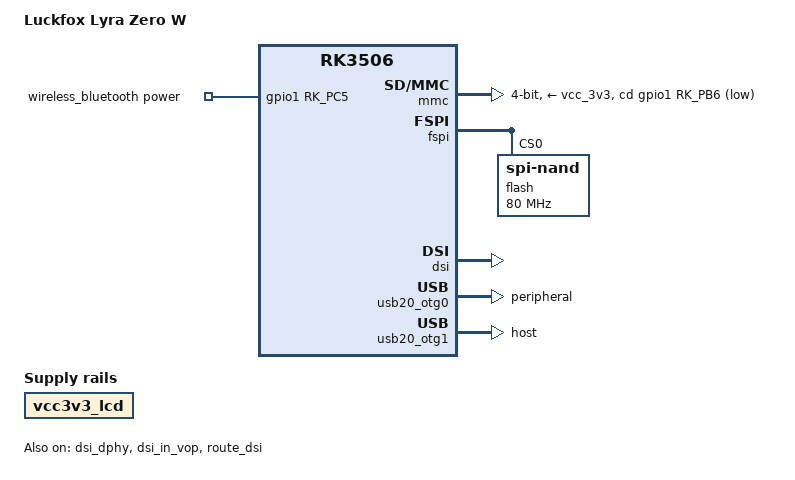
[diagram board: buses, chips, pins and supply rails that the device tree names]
// SPDX-License-Identifier: (GPL-2.0+ OR MIT)
/*
 * Copyright (c) 2024 Rockchip Electronics Co., Ltd.
 *
 * Lyra Zero W — SPI NAND with u-boot A/B (dual-slot) boot + AMP.
 *
 * A/B board: no fixed root= / ubi.mtd= here.  u-boot (CONFIG_ANDROID_AB)
 * injects ubi.mtd=<N> root=ubi0:system for the active system_a/system_b slot,
 * so this device tree is shared by both slots.  The AMP include brings up the
 * rpmsg/mailbox path (cpu2 = RT-Thread, M0 = HAL bare-metal) once u-boot has
 * loaded amp.img; the amp_reserved region holds the RT-Thread image.
 */

/dts-v1/;

#include "rk3506-luckfox-lyra-ultra.dtsi"
#include "rk3506-amp.dtsi"

/ {
	model = "Luckfox Lyra Zero W";
	compatible = "rockchip,rk3506g-demo-display-control", "rockchip,rk3506";

	chosen {
		bootargs = "earlycon=uart8250,mmio32,0xff0a0000 console=tty1 console=ttyFIQ0 rootfstype=ubifs rootwait snd_aloop.index=7 snd_aloop.use_raw_jiffies=1";
	};

	wireless_bluetooth: wireless-bluetooth {
		compatible = "bluetooth-platdata";
		BT,power_gpio = <&gpio1 RK_PC5 GPIO_ACTIVE_HIGH>;
		status = "okay";
	};

	vcc3v3_lcd: vcc3v3-lcd {
		status = "okay";
		compatible = "regulator-fixed";
		pinctrl-names = "default";
		pinctrl-0 = <&lcd_pwren_h>;
		regulator-name = "vcc3v3_lcd";
		regulator-always-on;
	};
};

/**********media**********/
&mmc {
	/* For SDMMC (the TF data card) */
	max-frequency = <52000000>;
	bus-width = <4>;
	no-sdio;
	no-mmc;
	cap-mmc-highspeed;
	cap-sd-highspeed;
	cd-gpios = <&gpio1 RK_PB6 GPIO_ACTIVE_LOW>; //det
	disable-wp;
	//sd-uhs-sdr104;
	pinctrl-names = "default";
	pinctrl-0 = <&sdmmc_clk_pins &sdmmc_cmd_pins &sdmmc_bus4_pins &sdmmc_det &sdmmc_pwren>;
	vqmmc-supply = <&vcc_3v3>;
	vmmc-supply = <&vcc_3v3>;
	status = "okay";
};

&fspi {
	status = "okay";

	flash@0 {
		compatible = "spi-nand";
		reg = <0>;
		spi-max-frequency = <80000000>;
		spi-rx-bus-width = <4>;
		spi-tx-bus-width = <1>;
	};
};

/**********display**********/
&cma {
	size = <0x2000000>;
};

&dsi {
	status = "okay";
};

&dsi_dphy {
	status = "okay";
};

&dsi_in_vop {
	status = "okay";
};

&route_dsi {
	status = "okay";
};

&dsi_panel {
	power-supply = <&vcc3v3_lcd>;
};

/**********ethernet**********/
&gmac1 {
	status = "disabled";
};

/**********usb**********/
&usb20_otg0 {
	dr_mode = "peripheral";
	status = "okay";
};

&usb20_otg1 {
	dr_mode = "host";
	status = "okay";
};

/**********Amp**********/
&reserved_memory {
	amp_reserved: amp@3e00000 {
		reg = <0x03e00000 0x100000>;
		no-map;
	};
};

/**********pinctrl**********/
&pinctrl {
	lcd {
		lcd_pwren_h: lcd-pwren-h {
			rockchip,pins = <1 RK_PC4 RK_FUNC_GPIO &pcfg_pull_up>;
		};
	};
};
